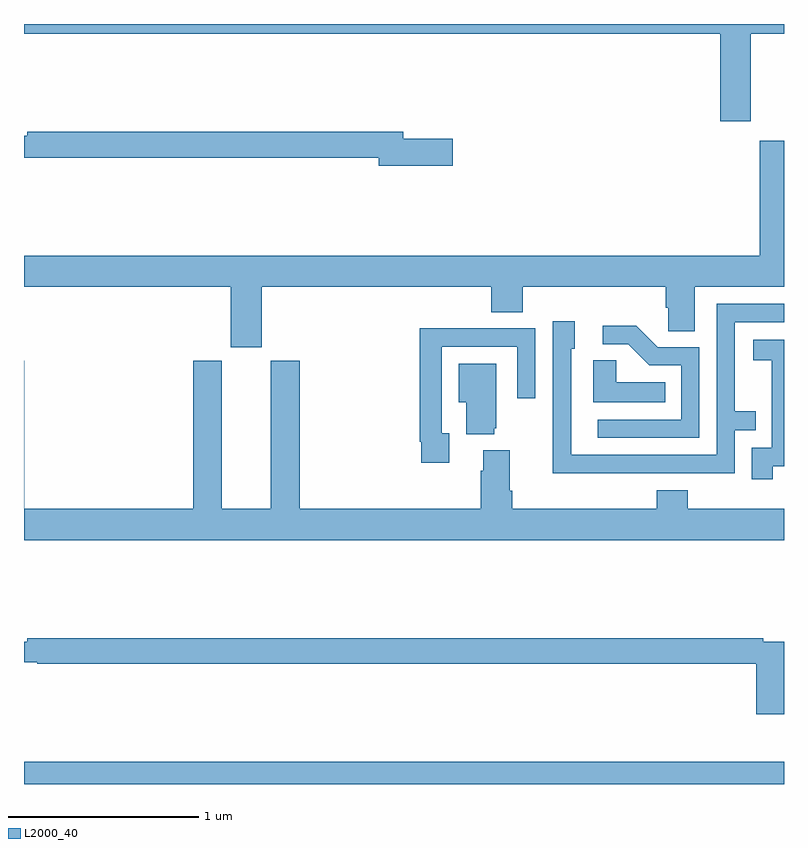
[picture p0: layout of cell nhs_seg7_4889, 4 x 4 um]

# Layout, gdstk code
import gdstk
lib = gdstk.Library(unit=1e-6, precision=1e-09)
def R(c, l, rs):  # rectangles x0, y0, x1, y1
    for r in rs: c.add(gdstk.rectangle(r[:2], r[2:], *l))
def P(c, l, *ps):  # polygons
    for p in ps: c.add(gdstk.Polygon(p, *l))
L2000_40 = (2000, 40)

nhs_seg7_4889 = lib.new_cell('nhs_seg7_4889')
R(nhs_seg7_4889, L2000_40, [(417,998,421,998.116)])
P(nhs_seg7_4889, L2000_40, [(420.825,1001.948),(421,1001.948),(421,1002),(417,1002),(417,1001.948),(420.665,1001.948),(420.665,1001.487),(420.825,1001.487)],
  [(419.257,1001.396),(418.996,1001.396),(418.996,1001.432),(417.016,1001.432),(417.016,1001.413),(417,1001.413),(417,1001.296),(418.868,1001.296),(418.868,1001.254),(419.257,1001.254)],
  [(418.252,1000.616),(419.459,1000.616),(419.459,1000.483),(419.624,1000.483),(419.624,1000.616),(420.377,1000.616),(420.377,1000.507),(420.39,1000.507),(420.39,1000.384),(420.529,1000.384),(420.529,1000.616),(421,1000.616),(421,1001.386),(420.872,1001.386),(420.872,1000.78),(417,1000.78),(417,1000.616),(418.088,1000.616),(418.088,1000.299),(418.252,1000.299)],
  [(420.245,999.636),(420.741,999.636),(420.741,999.861),(420.851,999.861),(420.851,999.962),(420.741,999.962),(420.741,1000.431),(421,1000.431),(421,1000.527),(420.645,1000.527),(420.645,999.732),(419.88,999.732),(419.88,1000.29),(419.899,1000.29),(419.899,1000.435),(419.784,1000.435),(419.784,999.941),(419.782,999.941),(419.782,999.635),(420.245,999.635)],
  [(420.555,1000.299),(420.336,1000.299),(420.223,1000.412),(420.045,1000.412),(420.045,1000.314),(420.179,1000.314),(420.29,1000.203),(420.459,1000.203),(420.459,999.918),(420.021,999.918),(420.021,999.822),(420.555,999.822)],
  [(419.239,999.846),(419.199,999.846),(419.199,1000.302),(419.595,1000.302),(419.595,1000.029),(419.691,1000.029),(419.691,1000.398),(419.375,1000.398),(419.375,1000.4),(419.083,1000.4),(419.083,999.802),(419.091,999.802),(419.091,999.69),(419.239,999.69)],
  [(420.94,999.673),(421,999.673),(421,1000.339),(420.837,1000.339),(420.837,1000.229),(420.935,1000.229),(420.935,1000.001),(420.936,1000.001),(420.936,999.771),(420.831,999.771),(420.831,999.603),(420.94,999.603)],
  [(420.374,1000.114),(420.117,1000.114),(420.117,1000.229),(419.996,1000.229),(419.996,1000.01),(420.374,1000.01)],
  [(417,1000.228),(417,999.284),(421,999.284),(421,999.448),(420.494,999.448),(420.494,999.547),(420.329,999.547),(420.329,999.448),(419.57,999.448),(419.57,999.544),(419.557,999.544),(419.557,999.757),(419.417,999.757),(419.417,999.65),(419.405,999.65),(419.405,999.448),(418.451,999.448),(418.451,1000.227),(418.298,1000.227),(418.298,999.448),(418.042,999.448),(418.042,1000.227),(417.89,1000.227),(417.89,999.448),(417.002,999.448),(417.002,1000.228)],
  [(419.474,999.873),(419.485,999.873),(419.485,1000.213),(419.288,1000.213),(419.288,1000.01),(419.327,1000.01),(419.327,999.842),(419.474,999.842)],
  [(421,998.748),(420.89,998.748),(420.89,998.768),(417.016,998.768),(417.016,998.749),(417,998.749),(417,998.64),(417.07,998.64),(417.07,998.632),(420.854,998.632),(420.854,998.367),(421,998.367)])

lib.write_gds('nhs_seg7_4889.gds')
